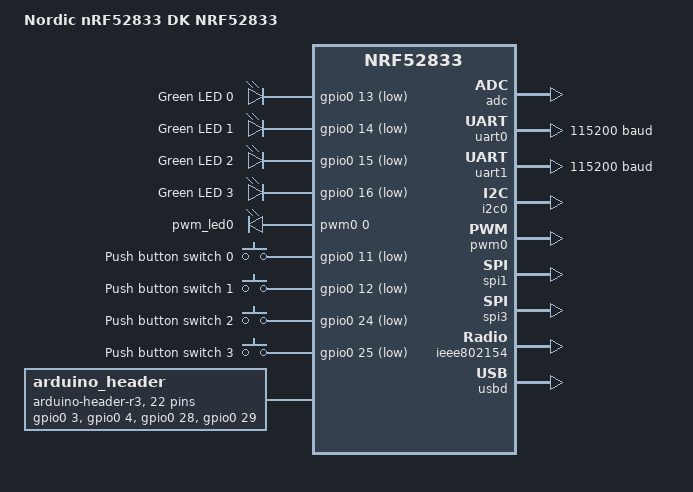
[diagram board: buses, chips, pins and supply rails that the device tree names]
/*
 * Copyright (c) 2019 Nordic Semiconductor ASA
 *
 * SPDX-License-Identifier: Apache-2.0
 */

/dts-v1/;
#include <nordic/nrf52833_qiaa.dtsi>
#include "nrf52833dk_nrf52833-pinctrl.dtsi"
#include <zephyr/dt-bindings/input/input-event-codes.h>

/ {
	model = "Nordic nRF52833 DK NRF52833";
	compatible = "nordic,nrf52833-dk-nrf52833";

	chosen {
		zephyr,console = &uart0;
		zephyr,shell-uart = &uart0;
		zephyr,uart-mcumgr = &uart0;
		zephyr,bt-mon-uart = &uart0;
		zephyr,bt-c2h-uart = &uart0;
		zephyr,sram = &sram0;
		zephyr,flash = &flash0;
		zephyr,code-partition = &slot0_partition;
		zephyr,ieee802154 = &ieee802154;
	};

	leds {
		compatible = "gpio-leds";
		led0: led_0 {
			gpios = <&gpio0 13 GPIO_ACTIVE_LOW>;
			label = "Green LED 0";
		};
		led1: led_1 {
			gpios = <&gpio0 14 GPIO_ACTIVE_LOW>;
			label = "Green LED 1";
		};
		led2: led_2 {
			gpios = <&gpio0 15 GPIO_ACTIVE_LOW>;
			label = "Green LED 2";
		};
		led3: led_3 {
			gpios = <&gpio0 16 GPIO_ACTIVE_LOW>;
			label = "Green LED 3";
		};
	};

	pwmleds {
		compatible = "pwm-leds";
		pwm_led0: pwm_led_0 {
			pwms = <&pwm0 0 PWM_MSEC(20) PWM_POLARITY_INVERTED>;
		};
	};

	buttons {
		compatible = "gpio-keys";
		button0: button_0 {
			gpios = <&gpio0 11 (GPIO_PULL_UP | GPIO_ACTIVE_LOW)>;
			label = "Push button switch 0";
			zephyr,code = <INPUT_KEY_0>;
		};
		button1: button_1 {
			gpios = <&gpio0 12 (GPIO_PULL_UP | GPIO_ACTIVE_LOW)>;
			label = "Push button switch 1";
			zephyr,code = <INPUT_KEY_1>;
		};
		button2: button_2 {
			gpios = <&gpio0 24 (GPIO_PULL_UP | GPIO_ACTIVE_LOW)>;
			label = "Push button switch 2";
			zephyr,code = <INPUT_KEY_2>;
		};
		button3: button_3 {
			gpios = <&gpio0 25 (GPIO_PULL_UP | GPIO_ACTIVE_LOW)>;
			label = "Push button switch 3";
			zephyr,code = <INPUT_KEY_3>;
		};
	};

	arduino_header: connector {
		compatible = "arduino-header-r3";
		#gpio-cells = <2>;
		gpio-map-mask = <0xffffffff 0xffffffc0>;
		gpio-map-pass-thru = <0 0x3f>;
		gpio-map = <0 0 &gpio0 3 0>,	/* A0 */
			   <1 0 &gpio0 4 0>,	/* A1 */
			   <2 0 &gpio0 28 0>,	/* A2 */
			   <3 0 &gpio0 29 0>,	/* A3 */
			   <4 0 &gpio0 30 0>,	/* A4 */
			   <5 0 &gpio0 31 0>,	/* A5 */
			   <6 0 &gpio1 1 0>,	/* D0 */
			   <7 0 &gpio1 2 0>,	/* D1 */
			   <8 0 &gpio1 3 0>,	/* D2 */
			   <9 0 &gpio1 4 0>,	/* D3 */
			   <10 0 &gpio1 5 0>,	/* D4 */
			   <11 0 &gpio1 6 0>,	/* D5 */
			   <12 0 &gpio1 7 0>,	/* D6 */
			   <13 0 &gpio1 8 0>,	/* D7 */
			   <14 0 &gpio0 17 0>,	/* D8 */
			   <15 0 &gpio0 19 0>,	/* D9 */
			   <16 0 &gpio0 20 0>,	/* D10 */
			   <17 0 &gpio0 21 0>,	/* D11 */
			   <18 0 &gpio0 22 0>,	/* D12 */
			   <19 0 &gpio0 23 0>,	/* D13 */
			   <20 0 &gpio0 26 0>,	/* D14 */
			   <21 0 &gpio0 27 0>;	/* D15 */
	};

	/* These aliases are provided for compatibility with samples */
	aliases {
		led0 = &led0;
		led1 = &led1;
		led2 = &led2;
		led3 = &led3;
		pwm-led0 = &pwm_led0;
		sw0 = &button0;
		sw1 = &button1;
		sw2 = &button2;
		sw3 = &button3;
		bootloader-led0 = &led0;
		mcuboot-button0 = &button0;
		mcuboot-led0 = &led0;
		watchdog0 = &wdt0;
	};
};

&adc {
	status = "okay";
};

&uicr {
	gpio-as-nreset;
};

&gpiote {
	status = "okay";
};

&gpio0 {
	status = "okay";
};

&gpio1 {
	status = "okay";
};

&uart0 {
	compatible = "nordic,nrf-uarte";
	status = "okay";
	current-speed = <115200>;
	pinctrl-0 = <&uart0_default>;
	pinctrl-1 = <&uart0_sleep>;
	pinctrl-names = "default", "sleep";
};

arduino_serial: &uart1 {
	current-speed = <115200>;
	pinctrl-0 = <&uart1_default>;
	pinctrl-1 = <&uart1_sleep>;
	pinctrl-names = "default", "sleep";
};

arduino_i2c: &i2c0 {
	compatible = "nordic,nrf-twi";
	status = "okay";
	pinctrl-0 = <&i2c0_default>;
	pinctrl-1 = <&i2c0_sleep>;
	pinctrl-names = "default", "sleep";
};

&i2c1 {
	compatible = "nordic,nrf-twi";
	/* Cannot be used together with spi1. */
	/* status = "okay"; */
	pinctrl-0 = <&i2c1_default>;
	pinctrl-1 = <&i2c1_sleep>;
	pinctrl-names = "default", "sleep";
};

&pwm0 {
	status = "okay";
	pinctrl-0 = <&pwm0_default>;
	pinctrl-1 = <&pwm0_sleep>;
	pinctrl-names = "default", "sleep";
};

&spi0 {
	compatible = "nordic,nrf-spi";
	/* Cannot be used together with i2c0. */
	/* status = "okay"; */
	pinctrl-0 = <&spi0_default>;
	pinctrl-1 = <&spi0_sleep>;
	pinctrl-names = "default", "sleep";
};

&spi1 {
	compatible = "nordic,nrf-spi";
	status = "okay";
	pinctrl-0 = <&spi1_default>;
	pinctrl-1 = <&spi1_sleep>;
	pinctrl-names = "default", "sleep";
};

arduino_spi: &spi3 {
	status = "okay";
	cs-gpios = <&arduino_header 16 GPIO_ACTIVE_LOW>; /* D10 */
	pinctrl-0 = <&spi3_default>;
	pinctrl-1 = <&spi3_sleep>;
	pinctrl-names = "default", "sleep";
};

&ieee802154 {
	status = "okay";
};

&flash0 {

	partitions {
		compatible = "fixed-partitions";
		#address-cells = <1>;
		#size-cells = <1>;

		boot_partition: partition@0 {
			label = "mcuboot";
			reg = <0x00000000 0xC000>;
		};
		slot0_partition: partition@c000 {
			label = "image-0";
			reg = <0x0000C000 0x37000>;
		};
		slot1_partition: partition@43000 {
			label = "image-1";
			reg = <0x00043000 0x37000>;
		};
		storage_partition: partition@7a000 {
			label = "storage";
			reg = <0x0007A000 0x00006000>;
		};
	};
};

zephyr_udc0: &usbd {
	compatible = "nordic,nrf-usbd";
	status = "okay";
};
